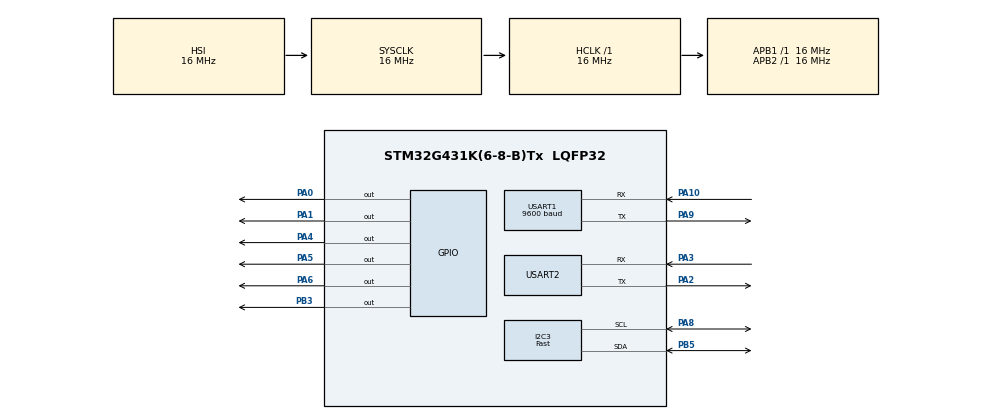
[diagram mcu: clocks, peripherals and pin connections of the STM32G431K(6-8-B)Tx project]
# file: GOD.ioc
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I2C3.I2C_Speed_Mode=I2C_Fast
I2C3.Timing=0x0010061A
Mcu.Family=STM32G4
Mcu.Name=STM32G431K(6-8-B)Tx
Mcu.Package=LQFP32
NVIC.PriorityGroup=NVIC_PRIORITYGROUP_4
NVIC.USART1_IRQn=true\:0\:0\:false\:false\:true\:true\:true
PA0.Signal=GPIO_Output
PA1.Signal=GPIO_Output
PA10.Mode=Asynchronous
PA10.Signal=USART1_RX
PA2.Mode=Asynchronous
PA2.Signal=USART2_TX
PA3.Mode=Asynchronous
PA3.Signal=USART2_RX
PA4.Signal=GPIO_Output
PA5.Signal=GPIO_Output
PA6.Signal=GPIO_Output
PA8.Mode=I2C
PA8.Signal=I2C3_SCL
PA9.Mode=Asynchronous
PA9.Signal=USART1_TX
PB3.Signal=GPIO_Output
PB5.Mode=I2C
PB5.Signal=I2C3_SDA
ProjectManager.HeapSize=0x200
ProjectManager.StackSize=0x400
ProjectManager.TargetToolchain=STM32CubeIDE
RCC.AHBFreq_Value=16000000
RCC.APB1Freq_Value=16000000
RCC.APB1TimFreq_Value=16000000
RCC.APB2Freq_Value=16000000
RCC.APB2TimFreq_Value=16000000
RCC.CortexFreq_Value=16000000
RCC.EXTERNAL_CLOCK_VALUE=12288000
RCC.HCLKFreq_Value=16000000
RCC.HSE_VALUE=8000000
RCC.HSI48_VALUE=48000000
RCC.HSI_VALUE=16000000
RCC.LSE_VALUE=32768
RCC.SYSCLKFreq_VALUE=16000000
RCC.USBFreq_Value=64000000
RCC.VCOOutputFreq_Value=128000000
USART1.BaudRate=9600
USART1.VirtualMode-Asynchronous=VM_ASYNC
USART2.VirtualMode-Asynchronous=VM_ASYNC
VP_SYS_VS_DBSignals.Mode=DisableDeadBatterySignals
board=custom

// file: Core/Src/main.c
/* USER CODE BEGIN Header */
/**
  ******************************************************************************
  * @file           : main.c
  * @brief          : Main program body
  ******************************************************************************
  * @attention
  *
  * Copyright (c) 2025 STMicroelectronics.
  * All rights reserved.
  *
  * This software is licensed under terms that can be found in the LICENSE file
  * in the root directory of this software component.
  * If no LICENSE file comes with this software, it is provided AS-IS.
  *
  ******************************************************************************
  */
/* USER CODE END Header */
#include "main.h"

/* USER CODE BEGIN Includes */
#include <stdio.h>
#include <stdint.h>
#include <string.h>
#include "stm32g4xx_hal.h"
#include "i2c.h"
#include "lsm9ds1.h"
#include "vector.h"
#include "gps.h"
#include "lcd.h"
#include "triad.h"
#include "igrf16.h"
#include "luts.h"

/* USER CODE END Includes */

/* USER CODE BEGIN PD */

#define USEROTATE 0 //use rotate 1 for on 0 for off
#define YAW 0 //deg rotation compared to geographic north, and flush with the eath surface
#define PITCH 0 //deg rotation compared to geographic north, and flush with the eath surface
#define ROLL 0 //deg rotation compared to geographic north, and flush with the eath surface
#define USECALIBRATION 0
#define USEGPSPRINT 1

/* USER CODE END PD */

I2C_HandleTypeDef hi2c3;

UART_HandleTypeDef huart1;
UART_HandleTypeDef huart2;

void SystemClock_Config(void);
static void MX_GPIO_Init(void);
static void MX_USART2_UART_Init(void);
static void MX_USART1_UART_Init(void);
static void MX_I2C3_Init(void);

/* USER CODE BEGIN 0 */

/**
 *  @brief Denne bruges til at modtage data fra GPS'en.
 */
uint8_t rx_buffer[1] = {0};

/*
 * @brief Denne har alle uart signalerne samlet i en buffer.
 */
RingBuffer uart_rx_buf = { .buffer = {0}, .head = 0, .tail = 0 }; // stores every rx_buffer in a ring buffer, see interrupt function
/* USER CODE END 0 */

int main(void)
{

  /* MCU Configuration--------------------------------------------------------*/

  /* Reset of all peripherals, Initializes the Flash interface and the Systick. */
  HAL_Init();

  /* Configure the system clock */
  SystemClock_Config();

  /* Initialize all configured peripherals */
  MX_GPIO_Init();
  MX_USART2_UART_Init();
  MX_USART1_UART_Init();
  MX_I2C3_Init();
  /* USER CODE BEGIN 2 */

  /**
   * @brief Starter LSM9DS1-chippen vha. registrene, der er i librariet.
   */
  lsmCtrlReg(&hi2c3);

  /*
   * @brief Starter GPS og UART1-interrupt, samt lidt logik for at sikre, at GPS'en starter op.
   */
	GPSRead_t GPS = {0};
	HAL_UART_Receive_IT(&huart1, rx_buffer, 1);
	HAL_Delay(100);
	while (!process_uart_data(&uart_rx_buf, &GPS)) {
	  printf("Error Not receiving UART data! \r\n");
	  printf("Log   Waiting");
	  for (int l = 0; l < 25; l++) {
		  HAL_Delay(40);
		  printf(".");
	  }
	  printf(" Retrying. \r\n");
	  HAL_UART_Receive_IT(&huart1, rx_buffer, 1);
	}

	/**
	 * @brief LCD initialisering.
	 */
  LCD_Init();
  LCD_SetCursor(0, 0);
  LCD_SendString("Roll");
  LCD_SetCursor(0, 6);
  LCD_SendString("Pitch");
  LCD_SetCursor(0, 12);
  LCD_SendString("Yaw");
  /* USER CODE END 2 */

  /* Infinite loop */
  /* USER CODE BEGIN WHILE */

  /**
   * @brief Prototype NOAA værdier for Lyngby.
   * Enhed: 16.16 tal, i Ladegaard (dvs. <<16 og så >>2)
   */

igrf_time_t testtime = {
		.year = 2025,
		.month = 6,
		.day = 20,
		.hour = 0,
		.minute = 0,
		.second = 0,
};

GPSRead_t GPStest = {
		.active = 1,
		.latitude = convert(56),
		.longitude = convert(13),
		.altitude = 0,
		.gpstime = testtime
};

Vector3D M2 = {     (17056<<14),  // North
					-(1464<<14),    // East
  					-(47628<<14)}; // Down
/*
 * @brief Prototype magnetometer værdier.
 */
Vector3D g2 = { 0, 0, -16384};

/**
 * @brief Kan tilføjes, så man kan rotere til den ønskede orientering.
 */
if (USEROTATE) {
	rotate_ref_vectors(&g2, &M2, convert(YAW), convert(PITCH), convert(ROLL));
}

int printIndex = 0;
Vector3D LCDRotation;
Matrix3x3 RotationMatrix;
Matrix3x3 RotationMatrixT;
Vector3D acc_avg = {0, 0, convert(1)};
Vector3D mag_avg = {convert(1), 0, 0};

  while (1)
  { // Begynd while loop

	  	  /*
	 	   *  GPS logik.
	 	   */
	 	process_uart_data(&uart_rx_buf, &GPS);
	 	  if (USEGPSPRINT) {
	 		  printIndex++;
	 	  	  if (!(printIndex % 10)) {
	 	  		  printIndex = 0;
	 	  		  printGPS(GPS);
	 	  		  printFixVector(M2);
	 	  		  printf("\r\n");
	 	  	  }
	  }

	 	  M2 = BfromGPS(GPS, IGRF_GEOCENTRIC);

	  // Læs værdierne fra magnetometeret
	  mag_avg = lsmMagRead(&hi2c3);
	  printf("\r\n%ld, %ld, %ld, ", mag_avg.x, mag_avg.y, mag_avg.z);
	  readSensorsAndAverage(&acc_avg, &mag_avg, hi2c3);
	  printf("%ld, %ld, %ld, ", mag_avg.x, mag_avg.y, mag_avg.z);
	  printf("%ld, %ld, %ld\r\n", acc_avg.x, acc_avg.y, acc_avg.z);

	  // Beregn TRIAD rotationsmatrice på RotationMatrix
	  triad(mag_avg,acc_avg,M2,g2, &RotationMatrix);

	  // Beregn Euler vinkler fra rotationsmatrice
	  RotationMatrixT = transpose(RotationMatrix);
	  rot2eulerZYX(&RotationMatrixT,&LCDRotation);

	  // Print den resulterende orienterings-vektor til LCD'et
	  LCD_PrintVector(LCDRotation);

	  /*
	   * Kalibreringstilstand, kan aktiveres.
	   */

	  if (USECALIBRATION) {

		  static int32_t max_x = INT32_MIN, max_y = INT32_MIN, max_z = INT32_MIN;
		  static int32_t min_x = INT32_MAX, min_y = INT32_MAX, min_z = INT32_MAX;

		  // bit1 = new-max, bit0 = new-min  -> 00 / 01 / 10 / 11
		  uint8_t fx = 0, fy = 0, fz = 0;

		  if (mag_avg.x > max_x) { max_x = mag_avg.x; fx |= 0b10; }
		  if (mag_avg.x < min_x) { min_x = mag_avg.x; fx |= 0b01; }

		  if (mag_avg.y > max_y) { max_y = mag_avg.y; fy |= 0b10; }
		  if (mag_avg.y < min_y) { min_y = mag_avg.y; fy |= 0b01; }

		  if (mag_avg.z > max_z) { max_z = mag_avg.z; fz |= 0b10; }
		  if (mag_avg.z < min_z) { min_z = mag_avg.z; fz |= 0b01; }
	  }

    /* USER CODE END WHILE */

    /* USER CODE BEGIN 3 */
  } // Afslut while loop
  /* USER CODE END 3 */
}

void SystemClock_Config(void)
{
  RCC_OscInitTypeDef RCC_OscInitStruct = {0};
  RCC_ClkInitTypeDef RCC_ClkInitStruct = {0};

  /** Configure the main internal regulator output voltage
  */
  HAL_PWREx_ControlVoltageScaling(PWR_REGULATOR_VOLTAGE_SCALE1);
  /** Initializes the RCC Oscillators according to the specified parameters
  * in the RCC_OscInitTypeDef structure.
  */
  RCC_OscInitStruct.OscillatorType = RCC_OSCILLATORTYPE_HSI;
  RCC_OscInitStruct.HSIState = RCC_HSI_ON;
  RCC_OscInitStruct.HSICalibrationValue = RCC_HSICALIBRATION_DEFAULT;
  RCC_OscInitStruct.PLL.PLLState = RCC_PLL_NONE;
  if (HAL_RCC_OscConfig(&RCC_OscInitStruct) != HAL_OK)
  {
    Error_Handler();
  }
  /** Initializes the CPU, AHB and APB buses clocks
  */
  RCC_ClkInitStruct.ClockType = RCC_CLOCKTYPE_HCLK|RCC_CLOCKTYPE_SYSCLK
                              |RCC_CLOCKTYPE_PCLK1|RCC_CLOCKTYPE_PCLK2;
  RCC_ClkInitStruct.SYSCLKSource = RCC_SYSCLKSOURCE_HSI;
  RCC_ClkInitStruct.AHBCLKDivider = RCC_SYSCLK_DIV1;
  RCC_ClkInitStruct.APB1CLKDivider = RCC_HCLK_DIV1;
  RCC_ClkInitStruct.APB2CLKDivider = RCC_HCLK_DIV1;

  if (HAL_RCC_ClockConfig(&RCC_ClkInitStruct, FLASH_LATENCY_0) != HAL_OK)
  {
    Error_Handler();
  }
}

static void MX_I2C3_Init(void)
{

  hi2c3.Instance = I2C3;
  hi2c3.Init.Timing = 0x0010061A;
  hi2c3.Init.OwnAddress1 = 0;
  hi2c3.Init.AddressingMode = I2C_ADDRESSINGMODE_7BIT;
  hi2c3.Init.DualAddressMode = I2C_DUALADDRESS_DISABLE;
  hi2c3.Init.OwnAddress2 = 0;
  hi2c3.Init.OwnAddress2Masks = I2C_OA2_NOMASK;
  hi2c3.Init.GeneralCallMode = I2C_GENERALCALL_DISABLE;
  hi2c3.Init.NoStretchMode = I2C_NOSTRETCH_DISABLE;
  if (HAL_I2C_Init(&hi2c3) != HAL_OK)
  {
    Error_Handler();
  }
  /** Configure Analogue filter
  */
  if (HAL_I2CEx_ConfigAnalogFilter(&hi2c3, I2C_ANALOGFILTER_ENABLE) != HAL_OK)
  {
    Error_Handler();
  }
  /** Configure Digital filter
  */
  if (HAL_I2CEx_ConfigDigitalFilter(&hi2c3, 0) != HAL_OK)
  {
    Error_Handler();
  }

}

static void MX_USART1_UART_Init(void)
{

  huart1.Instance = USART1;
  huart1.Init.BaudRate = 9600;
  huart1.Init.WordLength = UART_WORDLENGTH_8B;
  huart1.Init.StopBits = UART_STOPBITS_1;
  huart1.Init.Parity = UART_PARITY_NONE;
  huart1.Init.Mode = UART_MODE_TX_RX;
  huart1.Init.HwFlowCtl = UART_HWCONTROL_NONE;
  huart1.Init.OverSampling = UART_OVERSAMPLING_16;
  huart1.Init.OneBitSampling = UART_ONE_BIT_SAMPLE_DISABLE;
  huart1.Init.ClockPrescaler = UART_PRESCALER_DIV1;
  huart1.AdvancedInit.AdvFeatureInit = UART_ADVFEATURE_NO_INIT;
  if (HAL_UART_Init(&huart1) != HAL_OK)
  {
    Error_Handler();
  }
  if (HAL_UARTEx_SetTxFifoThreshold(&huart1, UART_TXFIFO_THRESHOLD_1_8) != HAL_OK)
  {
    Error_Handler();
  }
  if (HAL_UARTEx_SetRxFifoThreshold(&huart1, UART_RXFIFO_THRESHOLD_1_8) != HAL_OK)
  {
    Error_Handler();
  }
  if (HAL_UARTEx_DisableFifoMode(&huart1) != HAL_OK)
  {
    Error_Handler();
  }

}

static void MX_USART2_UART_Init(void)
{

  huart2.Instance = USART2;
  huart2.Init.BaudRate = 115200;
  huart2.Init.WordLength = UART_WORDLENGTH_8B;
  huart2.Init.StopBits = UART_STOPBITS_1;
  huart2.Init.Parity = UART_PARITY_NONE;
  huart2.Init.Mode = UART_MODE_TX_RX;
  huart2.Init.HwFlowCtl = UART_HWCONTROL_NONE;
  huart2.Init.OverSampling = UART_OVERSAMPLING_16;
  huart2.Init.OneBitSampling = UART_ONE_BIT_SAMPLE_DISABLE;
  huart2.Init.ClockPrescaler = UART_PRESCALER_DIV1;
  huart2.AdvancedInit.AdvFeatureInit = UART_ADVFEATURE_NO_INIT;
  if (HAL_UART_Init(&huart2) != HAL_OK)
  {
    Error_Handler();
  }
  if (HAL_UARTEx_SetTxFifoThreshold(&huart2, UART_TXFIFO_THRESHOLD_1_8) != HAL_OK)
  {
    Error_Handler();
  }
  if (HAL_UARTEx_SetRxFifoThreshold(&huart2, UART_RXFIFO_THRESHOLD_1_8) != HAL_OK)
  {
    Error_Handler();
  }
  if (HAL_UARTEx_DisableFifoMode(&huart2) != HAL_OK)
  {
    Error_Handler();
  }

}

static void MX_GPIO_Init(void)
{
  GPIO_InitTypeDef GPIO_InitStruct = {0};

  /* GPIO Ports Clock Enable */
  __HAL_RCC_GPIOA_CLK_ENABLE();
  __HAL_RCC_GPIOB_CLK_ENABLE();

  /*Configure GPIO pin Output Level */
  HAL_GPIO_WritePin(GPIOA, GPIO_PIN_0|GPIO_PIN_1|GPIO_PIN_4|GPIO_PIN_5
                          |GPIO_PIN_6, GPIO_PIN_RESET);

  /*Configure GPIO pin Output Level */
  HAL_GPIO_WritePin(GPIOB, GPIO_PIN_3, GPIO_PIN_RESET);

  /*Configure GPIO pins : PA0 PA1 PA4 PA5
                           PA6 */
  GPIO_InitStruct.Pin = GPIO_PIN_0|GPIO_PIN_1|GPIO_PIN_4|GPIO_PIN_5
                          |GPIO_PIN_6;
  GPIO_InitStruct.Mode = GPIO_MODE_OUTPUT_PP;
  GPIO_InitStruct.Pull = GPIO_NOPULL;
  GPIO_InitStruct.Speed = GPIO_SPEED_FREQ_LOW;
  HAL_GPIO_Init(GPIOA, &GPIO_InitStruct);

  /*Configure GPIO pin : PB3 */
  GPIO_InitStruct.Pin = GPIO_PIN_3;
  GPIO_InitStruct.Mode = GPIO_MODE_OUTPUT_PP;
  GPIO_InitStruct.Pull = GPIO_NOPULL;
  GPIO_InitStruct.Speed = GPIO_SPEED_FREQ_LOW;
  HAL_GPIO_Init(GPIOB, &GPIO_InitStruct);

}

/* USER CODE BEGIN 4 */

/**
 * @brief This is necessary to write to the USB port with Putty.
 */

int _write(int file, char *data, int len)
{
    HAL_UART_Transmit(&huart2, (uint8_t*)data, len, HAL_MAX_DELAY);
    return len;
}

/**
 *  Dette indstiller huart1 (GPS) som ringbuffer interrupt handler.
 */

void HAL_UART_RxCpltCallback(UART_HandleTypeDef *huart) {
	if (huart == &huart1) {
		RingBuffer_Write(&uart_rx_buf, rx_buffer[0]);
		HAL_UART_Receive_IT(&huart1, rx_buffer, 1);  // Re-arm interrupt
	}
}

/* USER CODE END 4 */

void Error_Handler(void)
{
  __disable_irq();
  while (1)
  {
  }
}
